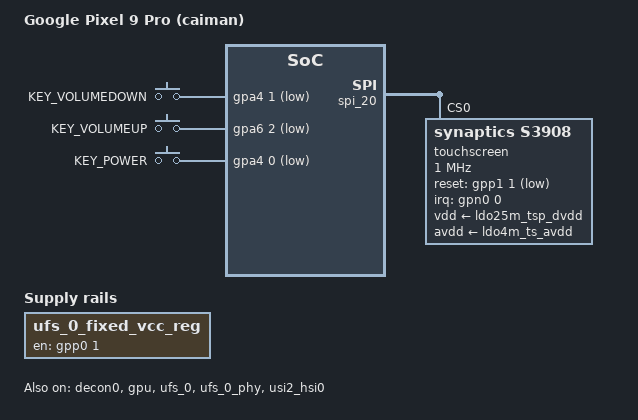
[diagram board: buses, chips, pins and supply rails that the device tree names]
// SPDX-License-Identifier: GPL-2.0-only
/*
 * Google Pixel 9 Pro (caiman) board device tree
 *
 * Copyright 2026 Will
 */

/dts-v1/;

#include <dt-bindings/gpio/gpio.h>
#include <dt-bindings/input/input.h>
#include <dt-bindings/interrupt-controller/irq.h>
#include <dt-bindings/soc/samsung,exynos-usi.h>
#include "gs101-pinctrl.h"
#include "zumapro.dtsi"

/ {
	model = "Google Pixel 9 Pro (caiman)";
	compatible = "google,caiman", "google,zumapro";

	reserved-memory {
		abl_framebuffer: framebuffer@fac00000 {
			reg = <0x0 0xfac00000 0xe00000>;
			no-map;
		};
	};

	memory@80000000 {
		device_type = "memory";
		reg = <0x0 0x80000000 0x80000000>;
	};

	gpio-keys {
		compatible = "gpio-keys";
		pinctrl-0 = <&key_voldown>, <&key_volup>, <&key_power>;
		pinctrl-names = "default";

		button-vol-down {
			label = "KEY_VOLUMEDOWN";
			linux,code = <KEY_VOLUMEDOWN>;
			gpios = <&gpa4 1 GPIO_ACTIVE_LOW>;
			wakeup-source;
		};

		button-vol-up {
			label = "KEY_VOLUMEUP";
			linux,code = <KEY_VOLUMEUP>;
			gpios = <&gpa6 2 GPIO_ACTIVE_LOW>;
			wakeup-source;
		};

		button-power {
			label = "KEY_POWER";
			linux,code = <KEY_POWER>;
			gpios = <&gpa4 0 GPIO_ACTIVE_LOW>;
			wakeup-source;
		};
	};

	ufs_0_fixed_vcc_reg: regulator-1 {
		compatible = "regulator-fixed";
		regulator-name = "ufs-vcc";
		gpio = <&gpp0 1 GPIO_ACTIVE_HIGH>;
		regulator-boot-on;
		enable-active-high;
	};
};

&decon0 {
	memory-region = <&abl_framebuffer>;
	status = "okay";
};

&gpu {
	status = "okay";
};

&pinctrl_alive {
	status = "okay";

	key_power: key-power-pins {
		samsung,pins = "gpa4-0";
		samsung,pin-function = <GS101_PIN_FUNC_EINT>;
		samsung,pin-pud = <GS101_PIN_PULL_UP>;
		samsung,pin-drv = <GS101_PIN_DRV_2_5_MA>;
	};

	key_voldown: key-voldown-pins {
		samsung,pins = "gpa4-1";
		samsung,pin-function = <GS101_PIN_FUNC_EINT>;
		samsung,pin-pud = <GS101_PIN_PULL_NONE>;
		samsung,pin-drv = <GS101_PIN_DRV_2_5_MA>;
	};

	key_volup: key-volup-pins {
		samsung,pins = "gpa6-2";
		samsung,pin-function = <GS101_PIN_FUNC_EINT>;
		samsung,pin-pud = <GS101_PIN_PULL_NONE>;
		samsung,pin-drv = <GS101_PIN_DRV_2_5_MA>;
	};
};

&pinctrl_custom_alive {
	status = "okay";
};

&s2mpg14_pmic {
	regulators {
		ldo4m_ts_avdd: ldo4m {
			regulator-name = "L4M_TS_AVDD";
			regulator-min-microvolt = <3300000>;
			regulator-max-microvolt = <3300000>;
		};

		ldo25m_tsp_dvdd: ldo25m {
			regulator-name = "L25M_TSP_DVDD";
			regulator-min-microvolt = <1800000>;
			regulator-max-microvolt = <1800000>;
		};
	};
};

&spi_20 {
	status = "okay";

	touchscreen@0 {
		compatible = "synaptics,s3908";
		reg = <0>;
		interrupt-parent = <&gpn0>;
		interrupts = <0 IRQ_TYPE_LEVEL_LOW>;
		reset-gpios = <&gpp1 1 GPIO_ACTIVE_LOW>;
		vdd-supply = <&ldo25m_tsp_dvdd>;
		avdd-supply = <&ldo4m_ts_avdd>;
		spi-cs-setup-delay-ns = <2000>;
		spi-max-frequency = <1000000>;
	};
};

&ufs_0 {
	vcc-supply = <&ufs_0_fixed_vcc_reg>;
	status = "okay";
};

&ufs_0_phy {
	status = "okay";
};

&usi2_hsi0 {
	assigned-clocks = <&cmu_hsi0 CLK_MOUT_HSI0_USI2>;
	assigned-clock-parents = <&ext_24_5m>;
	samsung,mode = <USI_MODE_SPI>;
	status = "okay";
};
